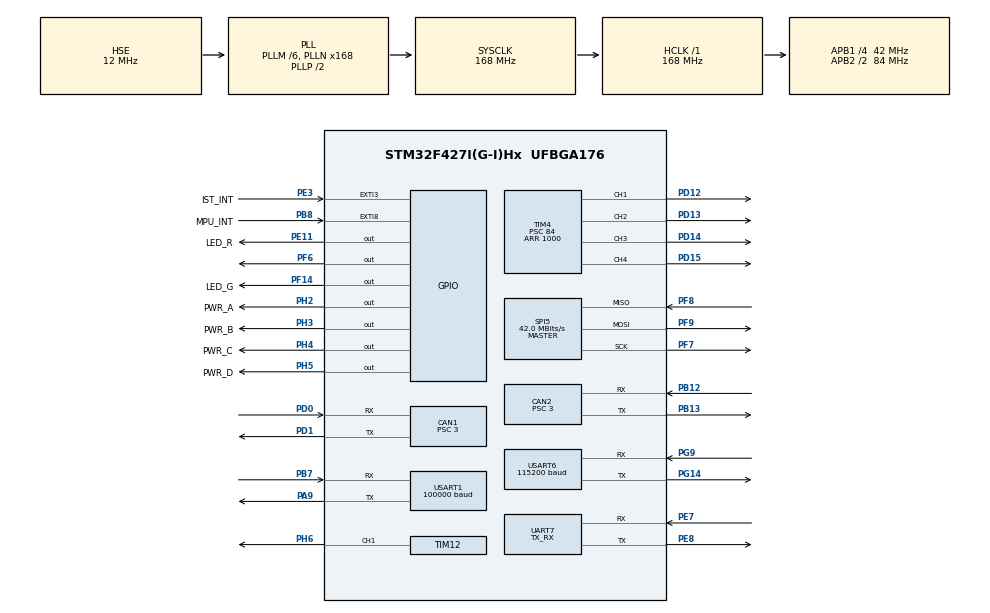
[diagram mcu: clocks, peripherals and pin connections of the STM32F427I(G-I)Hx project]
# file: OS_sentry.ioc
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Mcu.Family=STM32F4
Dma.SPI5_TX.4.Direction=DMA_MEMORY_TO_PERIPH
Dma.SPI5_TX.4.PeriphDataAlignment=DMA_PDATAALIGN_BYTE
CAN1.NART=DISABLE
Dma.UART7_RX.2.PeriphInc=DMA_PINC_DISABLE
RCC.CortexFreq_Value=168000000
NVIC.CAN2_RX0_IRQn=true\:5\:0\:false\:false\:true\:true\:true\:true
Dma.SPI5_TX.4.MemInc=DMA_MINC_ENABLE
PE11.GPIO_Label=LED_R
CAN2.CalculateTimeBit=999.99
USART1.BaudRate=100000
Dma.SPI5_TX.4.FIFOMode=DMA_FIFOMODE_DISABLE
USART1.WordLength=WORDLENGTH_9B
Dma.SPI5_TX.4.Priority=DMA_PRIORITY_VERY_HIGH
NVIC.EXTI3_IRQn=true\:5\:0\:true\:false\:true\:true\:true\:true
PH5.GPIO_Label=PWR_D
PB13.Signal=CAN2_TX
Dma.USART6_RX.1.Direction=DMA_PERIPH_TO_MEMORY
USART6.Mode=MODE_RX
RCC.SYSCLKSource=RCC_SYSCLKSOURCE_PLLCLK
ProjectManager.StackSize=0x400
PH2.GPIO_PuPd=GPIO_PULLUP
VP_FREERTOS_VS_CMSIS_V2.Mode=CMSIS_V2
Dma.SPI5_RX.3.MemDataAlignment=DMA_MDATAALIGN_BYTE
PD13.Signal=S_TIM4_CH2
PH5.Signal=GPIO_Output
PF7.Signal=SPI5_SCK
Dma.SPI5_RX.3.FIFOThreshold=DMA_FIFO_THRESHOLD_FULL
PH0/OSC_IN.Mode=HSE-External-Oscillator
Dma.USART6_RX.1.MemInc=DMA_MINC_ENABLE
Dma.USART6_RX.1.PeriphDataAlignment=DMA_PDATAALIGN_BYTE
RCC.HCLKFreq_Value=168000000
Dma.UART7_RX.2.Priority=DMA_PRIORITY_LOW
RCC.APB2TimFreq_Value=168000000
Dma.USART6_RX.1.Mode=DMA_CIRCULAR
PH1/OSC_OUT.Signal=RCC_OSC_OUT
PD0.Signal=CAN1_RX
Dma.USART6_RX.1.MemDataAlignment=DMA_MDATAALIGN_BYTE
Dma.SPI5_TX.4.MemDataAlignment=DMA_MDATAALIGN_BYTE
RCC.AHBFreq_Value=168000000
Dma.USART1_RX.0.Priority=DMA_PRIORITY_LOW
RCC.HSE_VALUE=12000000
TIM4.Channel-PWM\ Generation3\ CH3=TIM_CHANNEL_3
TIM12.Period=1000
PG14.Mode=Asynchronous
Dma.UART7_RX.2.Mode=DMA_CIRCULAR
PH4.GPIO_PuPd=GPIO_PULLUP
PF9.Mode=Full_Duplex_Master
SH.S_TIM12_CH1.0=TIM12_CH1,PWM Generation1 CH1
CAN2.Prescaler=3
SH.S_TIM4_CH2.0=TIM4_CH2,PWM Generation2 CH2
PB7.Signal=USART1_RX
PF8.Mode=Full_Duplex_Master
Dma.SPI5_TX.4.Mode=DMA_NORMAL
VP_TIM12_VS_ClockSourceINT.Mode=Internal
TIM4.Period=1000
Dma.USART1_RX.0.MemInc=DMA_MINC_ENABLE
PH1/OSC_OUT.Mode=HSE-External-Oscillator
Dma.UART7_RX.2.FIFOMode=DMA_FIFOMODE_DISABLE
PH3.GPIO_PuPd=GPIO_PULLUP
CAN1.Prescaler=3
Dma.SPI5_RX.3.Priority=DMA_PRIORITY_VERY_HIGH
Mcu.Package=UFBGA176
PB12.Mode=CAN_Activate
NVIC.TimeBase=TIM3_IRQn
CAN2.BS1=CAN_BS1_9TQ
CAN2.BS2=CAN_BS2_4TQ
USART6.VirtualMode=VM_ASYNC
PD12.Signal=S_TIM4_CH1
Dma.UART7_RX.2.MemDataAlignment=DMA_MDATAALIGN_BYTE
NVIC.TimeBaseIP=TIM3
PF8.Signal=SPI5_MISO
USART6.BaudRate=115200
PH3.GPIO_Label=PWR_B
PH4.PinState=GPIO_PIN_SET
SPI5.CalculateBaudRate=42.0 MBits/s
PH2.Signal=GPIO_Output
Dma.USART1_RX.0.FIFOMode=DMA_FIFOMODE_DISABLE
RCC.APB2CLKDivider=RCC_HCLK_DIV2
Dma.UART7_RX.2.Instance=DMA1_Stream3
NVIC.DMA2_Stream2_IRQn=true\:5\:0\:true\:false\:true\:false\:false\:true
SH.S_TIM4_CH1.0=TIM4_CH1,PWM Generation1 CH1
Dma.Request2=UART7_RX
PF14.Signal=GPIO_Output
Dma.Request1=USART6_RX
RCC.APB1TimFreq_Value=84000000
Dma.Request4=SPI5_TX
Dma.Request3=SPI5_RX
Dma.USART1_RX.0.Mode=DMA_CIRCULAR
PB13.Mode=CAN_Activate
PE7.Signal=UART7_RX
Dma.USART6_RX.1.FIFOMode=DMA_FIFOMODE_DISABLE
TIM4.Channel-PWM\ Generation4\ CH4=TIM_CHANNEL_4
Dma.Request0=USART1_RX
CAN1.CalculateTimeBit=999.99
PD15.Signal=S_TIM4_CH4
Dma.USART1_RX.0.Instance=DMA2_Stream2
SPI5.VirtualType=VM_MASTER
CAN1.CalculateTimeQuantum=71.42857142857143
Dma.SPI5_RX.3.PeriphBurst=DMA_PBURST_SINGLE
Dma.UART7_RX.2.Direction=DMA_PERIPH_TO_MEMORY
Dma.USART6_RX.1.Instance=DMA2_Stream1
RCC.PLLSourceVirtual=RCC_PLLSOURCE_HSE
TIM4.Channel-PWM\ Generation1\ CH1=TIM_CHANNEL_1
CAN2.CalculateBaudRate=1000000
Dma.UART7_RX.2.PeriphDataAlignment=DMA_PDATAALIGN_BYTE
Dma.UART7_RX.2.MemInc=DMA_MINC_ENABLE
FREERTOS.Tasks01=defaultTask,24,128,StartDefaultTask,Default,NULL,Dynamic,NULL,NULL
Dma.USART1_RX.0.PeriphDataAlignment=DMA_PDATAALIGN_BYTE
SH.S_TIM4_CH4.0=TIM4_CH4,PWM Generation4 CH4
PG9.Signal=USART6_RX
CAN1.CalculateBaudRate=1000000
PB8.GPIO_PuPd=GPIO_PULLDOWN
PG9.Mode=Asynchronous
PD1.Signal=CAN1_TX
PF14.GPIO_Label=LED_G
NVIC.DMA2_Stream1_IRQn=true\:5\:0\:true\:false\:true\:false\:false\:true
PH5.PinState=GPIO_PIN_SET
UART7.VirtualMode=Asynchronous
Dma.USART6_RX.1.PeriphInc=DMA_PINC_DISABLE
RCC.APB1CLKDivider=RCC_HCLK_DIV4
SPI5.Mode=SPI_MODE_MASTER
NVIC.USART6_IRQn=true\:5\:0\:true\:false\:true\:true\:true\:true
Dma.SPI5_RX.3.PeriphInc=DMA_PINC_DISABLE
PE8.Mode=Asynchronous
Dma.SPI5_RX.3.MemInc=DMA_MINC_ENABLE
PF7.Mode=Full_Duplex_Master
PB8.GPIO_Label=MPU_INT
PA9.Mode=Asynchronous
VP_SYS_VS_tim3.Mode=TIM3
Dma.SPI5_RX.3.FIFOMode=DMA_FIFOMODE_ENABLE
PH4.Signal=GPIO_Output
CAN1.BS2=CAN_BS2_4TQ
PF6.Signal=GPIO_Output
CAN1.BS1=CAN_BS1_9TQ
ProjectManager.TargetToolchain=STM32CubeIDE
PH5.GPIO_PuPd=GPIO_PULLUP
SH.S_TIM4_CH3.0=TIM4_CH3,PWM Generation3 CH3
Dma.USART1_RX.0.Direction=DMA_PERIPH_TO_MEMORY
PA9.Signal=USART1_TX
USART1.Parity=PARITY_EVEN
PH3.PinState=GPIO_PIN_SET
Dma.SPI5_RX.3.MemBurst=DMA_MBURST_SINGLE
NVIC.DMA2_Stream3_IRQn=true\:5\:0\:false\:false\:true\:true\:false\:true
TIM4.Prescaler=84
PE11.Signal=GPIO_Output
RCC.LSE_VALUE=32768
Dma.USART1_RX.0.PeriphInc=DMA_PINC_DISABLE
CAN1.ABOM=DISABLE
TIM12.Prescaler=84
PG14.Signal=USART6_TX
board=custom
Dma.USART6_RX.1.Priority=DMA_PRIORITY_LOW
Dma.SPI5_TX.4.Instance=DMA2_Stream4
RCC.VCOOutputFreq_Value=336000000
PD1.Mode=CAN_Activate
PH4.GPIO_Label=PWR_C
NVIC.TIM3_IRQn=true\:0\:0\:false\:false\:true\:false\:false\:true
PH0/OSC_IN.Signal=RCC_OSC_IN
TIM12.Channel-PWM\ Generation1\ CH1=TIM_CHANNEL_1
TIM4.Channel-PWM\ Generation2\ CH2=TIM_CHANNEL_2
RCC.APB2Freq_Value=84000000
USART1.Mode=MODE_RX
PE8.Signal=UART7_TX
PH2.PinState=GPIO_PIN_SET
CAN2.CalculateTimeQuantum=71.42857142857143
PE3.GPIO_PuPd=GPIO_PULLDOWN
Dma.USART1_RX.0.MemDataAlignment=DMA_MDATAALIGN_BYTE
UART7.Mode=MODE_TX_RX
Dma.SPI5_RX.3.Direction=DMA_PERIPH_TO_MEMORY
Dma.SPI5_RX.3.PeriphDataAlignment=DMA_PDATAALIGN_BYTE
Mcu.Name=STM32F427I(G-I)Hx
PD0.Mode=CAN_Activate
NVIC.DMA2_Stream4_IRQn=true\:5\:0\:false\:false\:true\:true\:false\:true
Dma.SPI5_RX.3.Instance=DMA2_Stream3
PD14.Signal=S_TIM4_CH3
RCC.48MHZClocksFreq_Value=84000000
RCC.SYSCLKFreq_VALUE=168000000
PE7.Mode=Asynchronous
Dma.SPI5_RX.3.Mode=DMA_NORMAL
USART1.VirtualMode=VM_ASYNC
PB7.Mode=Asynchronous
NVIC.EXTI9_5_IRQn=true\:5\:0\:true\:false\:true\:true\:true\:true
ProjectManager.HeapSize=0x200
PH6.Signal=S_TIM12_CH1
PF9.Signal=SPI5_MOSI
RCC.HSI_VALUE=16000000
NVIC.PriorityGroup=NVIC_PRIORITYGROUP_4
PH3.Signal=GPIO_Output
RCC.PLLM=6
RCC.PLLN=168
PF6.GPIO_PuPd=GPIO_PULLDOWN
PB8.Signal=GPXTI8
PE3.Signal=GPXTI3
Dma.SPI5_TX.4.PeriphInc=DMA_PINC_DISABLE
PE3.GPIO_Label=IST_INT
NVIC.DMA1_Stream3_IRQn=true\:5\:0\:false\:false\:true\:true\:false\:true
RCC.APB1Freq_Value=42000000
PH2.GPIO_Label=PWR_A
PB12.Signal=CAN2_RX
NVIC.CAN1_RX0_IRQn=true\:5\:0\:true\:false\:true\:true\:true\:true
SPI5.Direction=SPI_DIRECTION_2LINES
PF6.GPIO_Speed=GPIO_SPEED_FREQ_MEDIUM
PA7.Signal=SPI1_MOSI
NVIC.UART7_IRQn=true\:5\:0\:false\:false\:true\:true\:true\:true

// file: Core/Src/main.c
/* USER CODE BEGIN Header */
/**
  ******************************************************************************
  * @file           : main.c
  * @brief          : Main program body
  ******************************************************************************
  * @attention
  *
  * <h2><center>&copy; Copyright (c) 2021 STMicroelectronics.
  * All rights reserved.</center></h2>
  *
  * This software component is licensed by ST under Ultimate Liberty license
  * SLA0044, the "License"; You may not use this file except in compliance with
  * the License. You may obtain a copy of the License at:
  *                             www.st.com/SLA0044
  *
  ******************************************************************************
  */
/* USER CODE END Header */
#include "main.h"
#include "cmsis_os.h"
#include "can.h"
#include "dma.h"
#include "spi.h"
#include "tim.h"
#include "usart.h"
#include "gpio.h"

/* USER CODE BEGIN Includes */
#include "startup_task.h"
/* USER CODE END Includes */

void SystemClock_Config(void);
void MX_FREERTOS_Init(void);

int main(void)
{

  /* MCU Configuration--------------------------------------------------------*/

  /* Reset of all peripherals, Initializes the Flash interface and the Systick. */
  HAL_Init();

  /* Configure the system clock */
  SystemClock_Config();

  /* Initialize all configured peripherals */
  MX_GPIO_Init();
  MX_DMA_Init();
  MX_USART1_UART_Init();
  MX_CAN1_Init();
  MX_USART6_UART_Init();
  MX_SPI5_Init();
  MX_TIM12_Init();
  MX_CAN2_Init();
  MX_TIM4_Init();
  MX_UART7_Init();
  /* USER CODE BEGIN 2 */

  startup_task();
  /* USER CODE END 2 */

  /* Init scheduler */
  osKernelInitialize();  /* Call init function for freertos objects (in freertos.c) */
  MX_FREERTOS_Init();
  /* Start scheduler */
  osKernelStart();

  /* We should never get here as control is now taken by the scheduler */
  /* Infinite loop */
  while (1)
  {

  }
}

void SystemClock_Config(void)
{
  RCC_OscInitTypeDef RCC_OscInitStruct = {0};
  RCC_ClkInitTypeDef RCC_ClkInitStruct = {0};

  /** Configure the main internal regulator output voltage
  */
  __HAL_RCC_PWR_CLK_ENABLE();
  __HAL_PWR_VOLTAGESCALING_CONFIG(PWR_REGULATOR_VOLTAGE_SCALE1);
  /** Initializes the RCC Oscillators according to the specified parameters
  * in the RCC_OscInitTypeDef structure.
  */
  RCC_OscInitStruct.OscillatorType = RCC_OSCILLATORTYPE_HSE;
  RCC_OscInitStruct.HSEState = RCC_HSE_ON;
  RCC_OscInitStruct.PLL.PLLState = RCC_PLL_ON;
  RCC_OscInitStruct.PLL.PLLSource = RCC_PLLSOURCE_HSE;
  RCC_OscInitStruct.PLL.PLLM = 6;
  RCC_OscInitStruct.PLL.PLLN = 168;
  RCC_OscInitStruct.PLL.PLLP = RCC_PLLP_DIV2;
  RCC_OscInitStruct.PLL.PLLQ = 4;
  if (HAL_RCC_OscConfig(&RCC_OscInitStruct) != HAL_OK)
  {
    Error_Handler();
  }
  /** Initializes the CPU, AHB and APB buses clocks
  */
  RCC_ClkInitStruct.ClockType = RCC_CLOCKTYPE_HCLK|RCC_CLOCKTYPE_SYSCLK
                              |RCC_CLOCKTYPE_PCLK1|RCC_CLOCKTYPE_PCLK2;
  RCC_ClkInitStruct.SYSCLKSource = RCC_SYSCLKSOURCE_PLLCLK;
  RCC_ClkInitStruct.AHBCLKDivider = RCC_SYSCLK_DIV1;
  RCC_ClkInitStruct.APB1CLKDivider = RCC_HCLK_DIV4;
  RCC_ClkInitStruct.APB2CLKDivider = RCC_HCLK_DIV2;

  if (HAL_RCC_ClockConfig(&RCC_ClkInitStruct, FLASH_LATENCY_5) != HAL_OK)
  {
    Error_Handler();
  }
}

 /**
  * @brief  Period elapsed callback in non blocking mode
  * @note   This function is called  when TIM3 interrupt took place, inside
  * HAL_TIM_IRQHandler(). It makes a direct call to HAL_IncTick() to increment
  * a global variable "uwTick" used as application time base.
  * @param  htim : TIM handle
  * @retval None
  */
void HAL_TIM_PeriodElapsedCallback(TIM_HandleTypeDef *htim)
{
  if (htim->Instance == TIM3) {
    HAL_IncTick();
  }
}

void Error_Handler(void)
{
  __disable_irq();
  while (1)
  {
  }
}

/************************ (C) COPYRIGHT STMicroelectronics *****END OF FILE****/

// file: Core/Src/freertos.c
/* USER CODE BEGIN Header */
/**
  ******************************************************************************
  * File Name          : freertos.c
  * Description        : Code for freertos applications
  ******************************************************************************
  * @attention
  *
  * <h2><center>&copy; Copyright (c) 2021 STMicroelectronics.
  * All rights reserved.</center></h2>
  *
  * This software component is licensed by ST under Ultimate Liberty license
  * SLA0044, the "License"; You may not use this file except in compliance with
  * the License. You may obtain a copy of the License at:
  *                             www.st.com/SLA0044
  *
  ******************************************************************************
  */
/* USER CODE END Header */

#include "FreeRTOS.h"
#include "task.h"
#include "main.h"
#include "cmsis_os.h"

/* USER CODE BEGIN Includes */

#include "board_lib.h"
#include "startup_task.h"
#include "gimbal_control_task.h"
#include "gun_control_task.h"
#include "movement_control_task.h"
#include "gun_control_task.h"
#include "robot_config.h"

/* USER CODE END Includes */

/* USER CODE BEGIN PTD */

//Thread attributes, Low <-> High
const osThreadAttr_t low_priority_task_attributes = {
		.name = "low_priority_task",
		.priority = (osPriority_t) osPriorityLow
};

const osThreadAttr_t low2_priority_task_attributes = {
		.name = "low2_priority_task",
		.priority = (osPriority_t) osPriorityLow2
};

const osThreadAttr_t high_priority_task_attributes = {
    .name = "high_priority_task",
    .priority = (osPriority_t) osPriorityHigh
};

const osThreadAttr_t high2_priority_task_attributes = {
    .name = "high2_priority_task",
    .priority = (osPriority_t) osPriorityHigh2
};

/* USER CODE END PTD */

/* USER CODE BEGIN PD */
//FreeRTOS definitions
#define ISR_SEMAPHORE_COUNT 1
#define QUEUE_SIZE 1

osSemaphoreId_t sem_refUart;
osEventFlagsId_t gimbal_data_flag;
osEventFlagsId_t chassis_data_flag;
osEventFlagsId_t gun_data_flag;
osEventFlagsId_t rc_data_flag;
osEventFlagsId_t control_data_flag;

osMessageQueueId_t m_gimbal_heading;
osMessageQueueId_t m_chassis_output;
osMessageQueueId_t m_gun_output;
/* USER CODE END PD */

/* USER CODE BEGIN Variables */

//Input control task definitions
osThreadId_t gimbal_control_task_handle;
osThreadId_t movement_control_task_handle;
osThreadId_t gun_control_task_handle;

/* USER CODE END Variables */
/* Definitions for defaultTask */
osThreadId_t defaultTaskHandle;
const osThreadAttr_t defaultTask_attributes = {
  .name = "defaultTask",
  .priority = (osPriority_t) osPriorityNormal,
  .stack_size = 128 * 4
};

void StartDefaultTask(void *argument);

void MX_FREERTOS_Init(void); /* (MISRA C 2004 rule 8.1) */

void MX_FREERTOS_Init(void) {
  /* USER CODE BEGIN Init */
//	startup_task();
	gimbal_data_flag = osEventFlagsNew(NULL);
	chassis_data_flag = osEventFlagsNew(NULL);
	gun_data_flag = osEventFlagsNew(NULL);
	rc_data_flag = osEventFlagsNew(NULL);
	control_data_flag = osEventFlagsNew(NULL);
  /* USER CODE END Init */

  /* USER CODE BEGIN RTOS_SEMAPHORES */
  /* add semaphores, ... */
	sem_refUart = osSemaphoreNew(ISR_SEMAPHORE_COUNT, 0, NULL);

	//Controls when different task can execute

  /* USER CODE END RTOS_SEMAPHORES */

  /* Create the thread(s) */
  /* creation of defaultTask */
  defaultTaskHandle = osThreadNew(StartDefaultTask, NULL, &defaultTask_attributes);

  /* USER CODE BEGIN RTOS_THREADS */
  /* add threads, ... */
  //todo: adjust priorities
  //Threads creation
	gimbal_control_task_handle   = osThreadNew(gimbal_control_task, NULL, &high_priority_task_attributes);
	movement_control_task_handle = osThreadNew(movement_control_task, NULL, &low2_priority_task_attributes);
	gun_control_task_handle = osThreadNew(gun_control_task, NULL, &low_priority_task_attributes);
  /* USER CODE END RTOS_THREADS */

  /* USER CODE BEGIN RTOS_EVENTS */
  /* add events, ... */
  	//todo: add event flags
	//Signals when a certain event has occurred

  /* USER CODE END RTOS_EVENTS */

}

void StartDefaultTask(void *argument)
{
  for(;;)
  {
    osDelay(1);
  }
}

/************************ (C) COPYRIGHT STMicroelectronics *****END OF FILE****/
